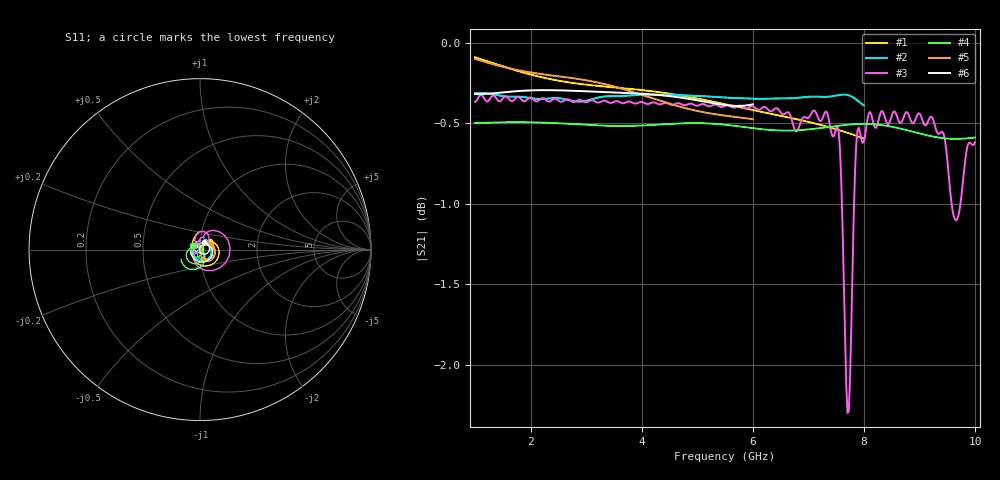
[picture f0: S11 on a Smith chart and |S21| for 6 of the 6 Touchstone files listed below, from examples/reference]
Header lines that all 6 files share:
! ports: 1=P1, 2=P2
# Hz S RI R 50
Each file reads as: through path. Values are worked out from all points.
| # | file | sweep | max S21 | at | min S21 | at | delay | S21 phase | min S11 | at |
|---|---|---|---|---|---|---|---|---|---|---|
| 1 | demo_transition_fast.s2p | 1 GHz to 8 GHz | -0.09 dB | 1 GHz | -0.6 dB | 8 GHz | 132 ps | 146 deg at 4.5 GHz | -34.7 dB | 6.32 GHz |
| 2 | demo_transition_openems.s2p | 1 GHz to 8 GHz | -0.31 dB | 1.105 GHz | -0.4 dB | 8 GHz | 135 ps | 141 deg at 4.5 GHz | -43.2 dB | 7.843 GHz |
| 3 | rf_gcpw_openems.s2p | 1 GHz to 10 GHz | -0.32 dB | 1.113 GHz | -2.3 dB | 7.705 GHz | 139 ps | 85 deg at 5.5 GHz | -36.8 dB | 3.61 GHz |
| 4 | rf_stripline_openems.s2p | 1 GHz to 10 GHz | -0.49 dB | 1.78 GHz | -0.6 dB | 9.64 GHz | 166 ps | 31 deg at 5.5 GHz | -44.8 dB | 8.05 GHz |
| 5 | sma_launch_fast.s2p | 1 GHz to 6 GHz | -0.10 dB | 1 GHz | -0.5 dB | 6 GHz | 160 ps | 159 deg at 3.5 GHz | -53.4 dB | 3.275 GHz |
| 6 | sma_launch_openems.s2p | 1 GHz to 6 GHz | -0.29 dB | 2.25 GHz | -0.4 dB | 5.737 GHz | 173 ps | 142 deg at 3.5 GHz | -51.1 dB | 3.112 GHz |
